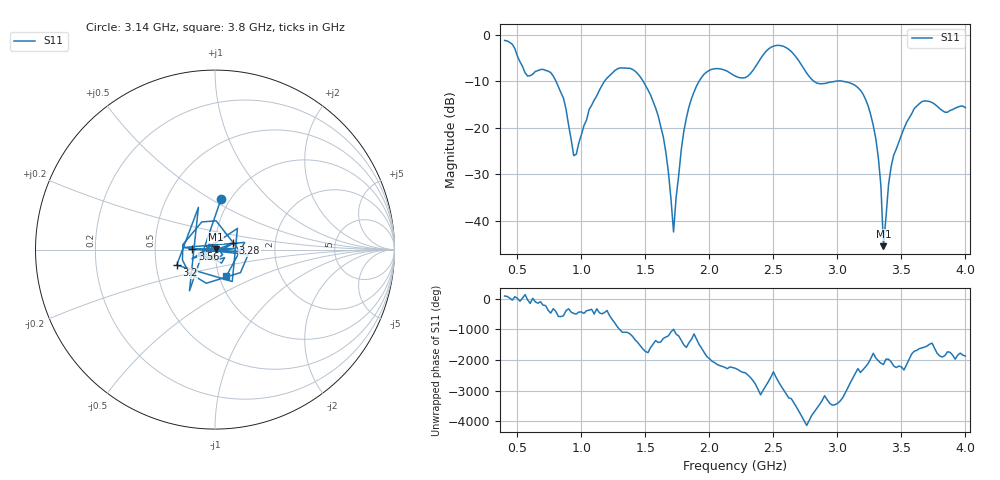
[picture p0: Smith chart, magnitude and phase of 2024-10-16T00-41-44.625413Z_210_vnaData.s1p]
! Created with skrf (http://scikit-rf.org).
# Hz S RI R 50.0
!freq ReS11 ImS11
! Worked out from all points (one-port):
!   181 points, 400 MHz to 4 GHz, reference 50 ohm
!   lowest |S11| = -45.5 dB at 3.36 GHz (marker M1), VSWR 1.01, Z = 50.5 + j0.136 ohm
!   |S11| at or under -10 dB: 801.6 MHz to 1.18 GHz (378.8 MHz wide, 38.2 % of centre); 1.482 GHz to 1.919 GHz (437.1 MHz wide, 25.7 % of centre); 3.041 GHz to end of sweep (the widest 3 of 4)
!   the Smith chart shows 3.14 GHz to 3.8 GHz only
!   S11 on the Smith chart (normalised r, x): 3.14 GHz: 0.91, +0.56; 3.2 GHz: 0.64, -0.12; 3.28 GHz: 1.22, +0.09; 3.56 GHz: 0.78, +0.00; 3.8 GHz: 1.08, -0.33
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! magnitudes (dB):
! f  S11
! 400 MHz  -1.2
! 580 MHz  -8.9
! 760 MHz  -8.1
! 860 MHz  -13.7
! 940 MHz  -26.0
! 1.06 GHz  -16.1
! 1.3 GHz  -7.1
! 1.44 GHz  -8.4
! 1.6 GHz  -17.5
! 1.66 GHz  -25.3
! 1.72 GHz  -42.4
! 1.76 GHz  -30.3
! 1.82 GHz  -18.0
! 1.92 GHz  -10.0
! 2.2 GHz  -8.9
! 2.5 GHz  -2.4
! 2.66 GHz  -4.2
! 2.84 GHz  -10.4
! 3.1 GHz  -10.4
! 3.14 GHz  -10.9
! 3.2 GHz  -12.8
! 3.28 GHz  -19.5
! 3.34 GHz  -32.6
! 3.36 GHz  -45.5
! 3.42 GHz  -28.4
! 3.56 GHz  -18.0
! 3.8 GHz  -15.9
! 4 GHz  -15.7
